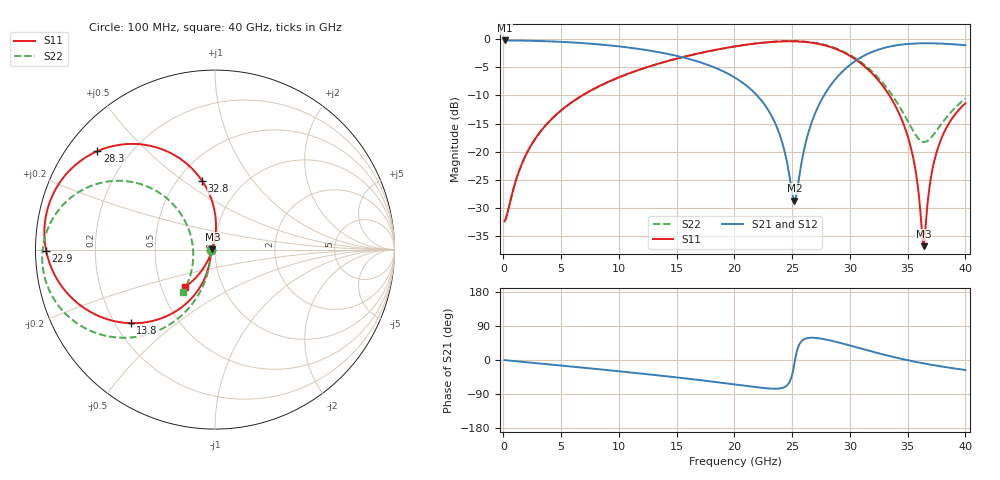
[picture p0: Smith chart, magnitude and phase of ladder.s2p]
! E_s8_L1L3_p800_round_g2: via ladder as kisi uses it (kisi_si::via_pbm, graded grid, junction model), differential mode (per line 50 ohm)
# Hz S RI R 50
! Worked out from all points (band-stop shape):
!   400 points, 100 MHz to 40 GHz, reference 50 ohm
!   highest |S21| = -0.21 dB at 100 MHz (marker M1); lowest = -28.7 dB at 25.2 GHz (marker M2)
!   |S21| within 3 dB of the highest: start of sweep to 15.52 GHz; 30.97 GHz to end of sweep
!   lowest |S11| = -36.8 dB at 36.4 GHz (marker M3), VSWR 1.03, Z = 48.6 + j0.209 ohm
!   |S11| at or under -10 dB: start of sweep to 6.824 GHz; 33.42 GHz to end of sweep
!   |S22| runs from -32.4 to -0.3 dB; largest |S21 - S12| = 0
!   S11 on the Smith chart (normalised r, x): 100 MHz: 0.95, -0.01; 13.8 GHz: 0.26, -0.35; 22.9 GHz: 0.03, -0.00; 28.3 GHz: 0.09, +0.36; 32.8 GHz: 0.65, +0.59; 40 GHz: 0.66, -0.30
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1e8  -0.0235 -0.00453  0.9765 -0.00497  0.9765 -0.00497  -0.0235 -0.00454
1.3e9  -0.0278 -0.0586  0.9726 -0.0644  0.9726 -0.0644  -0.0269 -0.0589
2.5e9  -0.0397 -0.1118  0.9619 -0.1231  0.9619 -0.1231  -0.0364 -0.1127
6.8e9  -0.1408 -0.282  0.8699 -0.3163  0.8699 -0.3163  -0.1182 -0.2915
1.34e10  -0.4461 -0.4102  0.5849 -0.5  0.5849 -0.5  -0.3778 -0.4731
1.38e10  -0.4689 -0.4102  0.5631 -0.5044  0.5631 -0.5044  -0.3981 -0.4784
2.01e10  -0.8352 -0.2288  0.1924 -0.4091  0.1924 -0.4091  -0.7602 -0.4164
2.29e10  -0.941 -0.00543  0.0612 -0.2286  0.0612 -0.2286  -0.9075 -0.2584
2.41e10  -0.9501 0.1197  0.0342 -0.1193  0.0342 -0.1193  -0.9482 -0.1573
2.52e10  -0.9275 0.2444  0.0363 -0.00541  0.0363 -0.00541  -0.9628 -0.0482
2.67e10  -0.836 0.4125  0.0952 0.1567  0.0952 0.1567  -0.9319 0.1151
2.83e10  -0.656 0.5482  0.24 0.3018  0.24 0.3018  -0.8194 0.2759
3.04e10  -0.3467 0.5749  0.5198 0.3635  0.5198 0.3635  -0.5694 0.3823
3.28e10  -0.0722 0.3837  0.8005 0.2176  0.8005 0.2176  -0.2859 0.2995
3.34e10  -0.0346 0.3166  0.8451 0.1583  0.8451 0.1583  -0.2348 0.2541
3.54e10  0.00412 0.096  0.9133 -0.0502  0.9133 -0.0502  -0.136 0.0802
3.59e10  -0.00269 0.0472  0.9142 -0.0993  0.9142 -0.0993  -0.1265 0.037
3.64e10  -0.0142 0.00215  0.9101 -0.1459  0.9101 -0.1459  -0.1218 -0.00458
3.69e10  -0.0296 -0.039  0.9018 -0.1896  0.9018 -0.1896  -0.1213 -0.0442
3.75e10  -0.052 -0.0832  0.8874 -0.238  0.8874 -0.238  -0.1253 -0.0887
3.85e10  -0.0959 -0.1443  0.855 -0.3088  0.855 -0.3088  -0.1409 -0.1552
4e10  -0.1697 -0.2095  0.7943 -0.393  0.7943 -0.393  -0.1781 -0.2367
